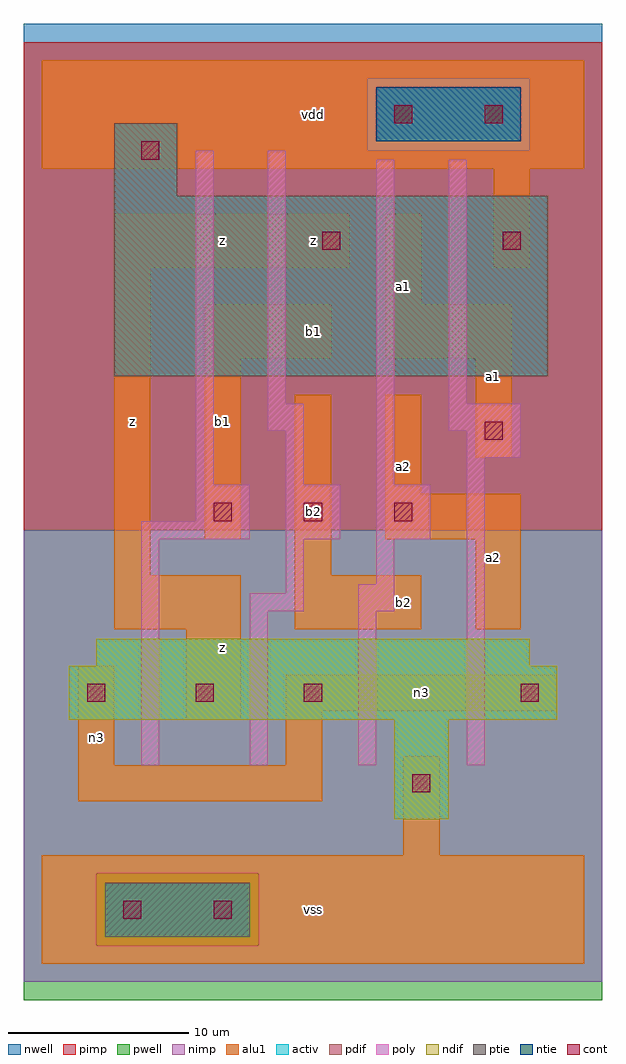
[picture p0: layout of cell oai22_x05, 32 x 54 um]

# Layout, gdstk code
import gdstk
lib = gdstk.Library(unit=1e-6, precision=1e-09)
def R(c, l, rs):  # rectangles x0, y0, x1, y1
    for r in rs: c.add(gdstk.rectangle(r[:2], r[2:], *l))
def A(c, l, x, y, w, h, nx, ny, dx, dy):  # array of equal rectangles
    R(c, l, [(x+i*dx, y+j*dy, x+i*dx+w, y+j*dy+h) for i in range(nx) for j in range(ny)])
ndif = (3, 0)
pdif = (4, 0)
ntie = (5, 0)
ptie = (6, 0)
cont = (25, 0)
pwell = (41, 0)
nwell = (42, 0)
activ = (43, 0)
pimp = (44, 0)
nimp = (45, 0)
poly = (46, 0)
alu1 = (49, 0)

oai22_x05 = lib.new_cell('oai22_x05')
R(oai22_x05, ndif, [(19.5,8,22.5,13.5), (1.5,13.5,28.5,16.5), (3,16.5,27,18)])
R(oai22_x05, pdif, [(4,32.5,28,42.5), (4,42.5,7.5,46.5)])
R(oai22_x05, ntie, [(18.5,45.5,26.5,48.5)])
R(oai22_x05, ptie, [(3.5,1.5,11.5,4.5)])
A(oai22_x05, cont, 2.5, 14.5, 1, 1, 3, 1, 6, 0)
A(oai22_x05, cont, 9.5, 24.5, 1, 1, 3, 1, 5, 0)
R(oai22_x05, cont, [(4.5,2.5,5.5,3.5), (9.5,2.5,10.5,3.5), (20.5,9.5,21.5,10.5), (26.5,14.5,27.5,15.5), (24.5,29,25.5,30), (15.5,39.5,16.5,40.5), (25.5,39.5,26.5,40.5), (5.5,44.5,6.5,45.5), (19.5,46.5,20.5,47.5), (24.5,46.5,25.5,47.5)])
R(oai22_x05, pwell, [(-1,-2,31,24)])
R(oai22_x05, nwell, [(-1,24,31,52)])
R(oai22_x05, activ, [(3.5,1.5,11.5,4.5), (19.5,8,22.5,13.5), (1.5,13.5,28.5,16.5), (3,16.5,27,18), (4,32.5,28,42.5), (4,42.5,7.5,46.5), (18.5,45.5,26.5,48.5)])
R(oai22_x05, pimp, [(3,1,12,5), (-1,24,31,45), (-1,45,18,49), (27,45,31,49), (-1,49,31,51)])
R(oai22_x05, nimp, [(-1,-1,31,1), (-1,1,3,5), (12,1,31,5), (-1,5,31,24), (18,45,27,49)])
R(oai22_x05, poly, [(5.5,11,6.5,23.5), (11.5,11,12.5,19.5), (17.5,11,18.5,19.5), (23.5,11,24.5,28), (11.5,19.5,14.5,20.5), (17.5,19.5,19.5,21), (13.5,20.5,14.5,23.5), (18.5,21,19.5,23.5), (5.5,23.5,11.5,24.5), (13.5,23.5,16.5,26.5), (18.5,23.5,21.5,26.5), (8.5,24.5,11.5,26.5), (8.5,26.5,9.5,45), (13.5,26.5,14.5,29.5), (18.5,26.5,19.5,44.5), (23.5,28,26.5,29.5), (12.5,29.5,14.5,31), (22.5,29.5,26.5,31), (12.5,31,13.5,45), (22.5,31,23.5,44.5)])
R(oai22_x05, alu1, [(0,0,30,6), (20,6,22,11.5), (2,9,15.5,11), (2,11,4,16.5), (13.5,11,15.5,14), (8,13.5,11,18.5), (13.5,14,28.5,16), (4,18.5,11,21.5), (14,18.5,21,21.5), (24,18.5,26.5,23.5), (4,21.5,6,38.5), (14,21.5,16,31.5), (9,23.5,11,33.5), (19,23.5,26.5,26), (19,26,21,31.5), (24,28,26,33.5), (9,33.5,16,36.5), (19,33.5,26,36.5), (19,36.5,21,41.5), (4,38.5,17,41.5), (25,38.5,27,44), (0,44,30,50)])
oai22_x05.add(gdstk.Label('n3', (3,12.5), layer=49, texttype=0))
oai22_x05.add(gdstk.Label('z', (10,17.5), layer=49, texttype=0))
oai22_x05.add(gdstk.Label('b1', (10,30), layer=49, texttype=0))
oai22_x05.add(gdstk.Label('z', (5,30), layer=49, texttype=0))
oai22_x05.add(gdstk.Label('z', (10,40), layer=49, texttype=0))
oai22_x05.add(gdstk.Label('vss', (15,3), layer=49, texttype=0))
oai22_x05.add(gdstk.Label('b2', (15,25), layer=49, texttype=0))
oai22_x05.add(gdstk.Label('b1', (15,35), layer=49, texttype=0))
oai22_x05.add(gdstk.Label('z', (15,40), layer=49, texttype=0))
oai22_x05.add(gdstk.Label('vdd', (15,47), layer=49, texttype=0))
oai22_x05.add(gdstk.Label('b2', (20,20), layer=49, texttype=0))
oai22_x05.add(gdstk.Label('a2', (20,27.5), layer=49, texttype=0))
oai22_x05.add(gdstk.Label('a1', (20,37.5), layer=49, texttype=0))
oai22_x05.add(gdstk.Label('n3', (21,15), layer=49, texttype=0))
oai22_x05.add(gdstk.Label('a2', (25,22.5), layer=49, texttype=0))
oai22_x05.add(gdstk.Label('a1', (25,32.5), layer=49, texttype=0))

lib.write_gds('oai22_x05.gds')
